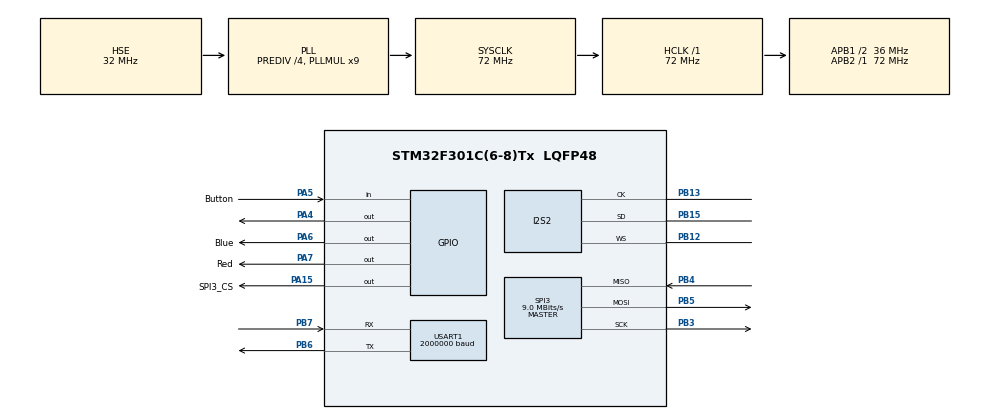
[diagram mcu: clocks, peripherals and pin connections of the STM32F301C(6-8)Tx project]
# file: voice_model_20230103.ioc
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Dma.Request0=SPI2_RX
Dma.SPI2_RX.0.Direction=DMA_PERIPH_TO_MEMORY
Dma.SPI2_RX.0.Instance=DMA1_Channel4
Dma.SPI2_RX.0.MemDataAlignment=DMA_MDATAALIGN_HALFWORD
Dma.SPI2_RX.0.MemInc=DMA_MINC_ENABLE
Dma.SPI2_RX.0.Mode=DMA_CIRCULAR
Dma.SPI2_RX.0.PeriphDataAlignment=DMA_PDATAALIGN_HALFWORD
Dma.SPI2_RX.0.PeriphInc=DMA_PINC_DISABLE
Dma.SPI2_RX.0.Priority=DMA_PRIORITY_HIGH
I2S2.AudioFreq=I2S_AUDIOFREQ_16K
I2S2.CPOL=I2S_CPOL_HIGH
I2S2.DataFormat=I2S_DATAFORMAT_24B
I2S2.ErrorAudioFreq=0.44 %
I2S2.FullDuplexMode=I2S_FULLDUPLEXMODE_DISABLE
I2S2.Instance=SPI$Index
I2S2.Mode=I2S_MODE_MASTER_RX
I2S2.RealAudioFreq=16.071 KHz
I2S2.VirtualMode=I2S_MODE_MASTER
Mcu.Family=STM32F3
Mcu.Name=STM32F301C(6-8)Tx
Mcu.Package=LQFP48
NVIC.DMA1_Channel4_IRQn=true\:0\:0\:true\:false\:true\:false\:true\:true
NVIC.PriorityGroup=NVIC_PRIORITYGROUP_4
NVIC.USART1_IRQn=true\:0\:0\:true\:false\:true\:true\:true\:true
PA13.Signal=SYS_JTMS-SWDIO
PA14.Signal=SYS_JTCK-SWCLK
PA15.GPIO_Label=SPI3_CS
PA15.GPIO_PuPd=GPIO_PULLUP
PA15.Signal=GPIO_Output
PA4.Signal=GPIO_Output
PA5.GPIO_Label=Button
PA5.GPIO_PuPd=GPIO_PULLUP
PA5.Signal=GPIO_Input
PA6.GPIO_Label=Blue
PA6.Signal=GPIO_Output
PA7.GPIO_Label=Red
PA7.Signal=GPIO_Output
PB12.GPIO_Speed=GPIO_SPEED_FREQ_HIGH
PB12.Mode=Half_Duplex_Master
PB12.Signal=I2S2_WS
PB13.GPIO_Speed=GPIO_SPEED_FREQ_HIGH
PB13.Mode=Half_Duplex_Master
PB13.Signal=I2S2_CK
PB15.GPIO_PuPd=GPIO_PULLDOWN
PB15.GPIO_Speed=GPIO_SPEED_FREQ_HIGH
PB15.Mode=Half_Duplex_Master
PB15.Signal=I2S2_SD
PB3.GPIO_PuPd=GPIO_PULLUP
PB3.Mode=Full_Duplex_Master
PB3.Signal=SPI3_SCK
PB4.GPIO_PuPd=GPIO_PULLDOWN
PB4.Mode=Full_Duplex_Master
PB4.Signal=SPI3_MISO
PB5.GPIO_PuPd=GPIO_PULLDOWN
PB5.Mode=Full_Duplex_Master
PB5.Signal=SPI3_MOSI
PB6.Mode=Asynchronous
PB6.Signal=USART1_TX
PB7.GPIO_PuPd=GPIO_NOPULL
PB7.Mode=Asynchronous
PB7.Signal=USART1_RX
PC14\ -\ OSC32_IN.Mode=LSE-External-Oscillator
PC14\ -\ OSC32_IN.Signal=RCC_OSC32_IN
PC15\ -\ OSC32_OUT.Mode=LSE-External-Oscillator
PC15\ -\ OSC32_OUT.Signal=RCC_OSC32_OUT
PF0-OSC_IN.Mode=HSE-External-Oscillator
PF0-OSC_IN.Signal=RCC_OSC_IN
PF1-OSC_OUT.Mode=HSE-External-Oscillator
PF1-OSC_OUT.Signal=RCC_OSC_OUT
ProjectManager.HeapSize=0x200
ProjectManager.StackSize=0x400
ProjectManager.TargetToolchain=STM32CubeIDE
RCC.AHBFreq_Value=72000000
RCC.APB1CLKDivider=RCC_HCLK_DIV2
RCC.APB1Freq_Value=36000000
RCC.APB1TimFreq_Value=72000000
RCC.APB2Freq_Value=72000000
RCC.APB2TimFreq_Value=72000000
RCC.CortexFreq_Value=72000000
RCC.HCLKFreq_Value=72000000
RCC.HSE_VALUE=32000000
RCC.HSI_VALUE=8000000
RCC.PLLMUL=RCC_PLL_MUL9
RCC.PLLSourceVirtual=RCC_PLLSOURCE_HSE
RCC.RCC_PLLsource_Clock_Source_FROM_HSE=RCC_HSE_PREDIV_DIV4
RCC.SYSCLKFreq_VALUE=72000000
RCC.SYSCLKSourceVirtual=RCC_SYSCLKSOURCE_PLLCLK
SPI3.BaudRatePrescaler=SPI_BAUDRATEPRESCALER_4
SPI3.CLKPhase=SPI_PHASE_2EDGE
SPI3.CLKPolarity=SPI_POLARITY_HIGH
SPI3.CalculateBaudRate=9.0 MBits/s
SPI3.DataSize=SPI_DATASIZE_8BIT
SPI3.Direction=SPI_DIRECTION_2LINES
SPI3.Mode=SPI_MODE_MASTER
SPI3.VirtualType=VM_MASTER
USART1.BaudRate=2000000
USART1.Mode=MODE_TX_RX
USART1.VirtualMode-Asynchronous=VM_ASYNC
board=custom

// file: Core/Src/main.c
/* USER CODE BEGIN Header */
/**
  ******************************************************************************
  * @file           : main.c
  * @brief          : Main program body
  ******************************************************************************
  * @attention
  *
  * Copyright (c) 2023 STMicroelectronics.
  * All rights reserved.
  *
  * This software is licensed under terms that can be found in the LICENSE file
  * in the root directory of this software component.
  * If no LICENSE file comes with this software, it is provided AS-IS.
  *
  ******************************************************************************
  */
/* USER CODE END Header */
#include "main.h"

/* USER CODE BEGIN Includes */
#include "stdio.h"
#include "stm32_SPI_IIM42652_drv_ex.h"
#include "stm32_SPI_IIM42652_drv_ex.h"
/* USER CODE END Includes */

I2S_HandleTypeDef hi2s2;
DMA_HandleTypeDef hdma_spi2_rx;

SPI_HandleTypeDef hspi3;

UART_HandleTypeDef huart1;

/* USER CODE BEGIN PV */
uint8_t rxuart;
uint16_t data_i2s[2];
volatile uint8_t full_i2s, half_i2s;
volatile uint8_t tim_flag;
volatile int32_t sample_i2s;
uint8_t ledflag = 0;
uint8_t uart_flag = 0;
uint8_t mic_data_reset = 0;
uint8_t send_flag = 0;

uint8_t str_buffer[8];

/* USER CODE END PV */

void SystemClock_Config(void);
static void MX_GPIO_Init(void);
static void MX_DMA_Init(void);
static void MX_I2S2_Init(void);
static void MX_SPI3_Init(void);
static void MX_USART1_UART_Init(void);
/* USER CODE BEGIN PFP */
static int32_t platform_write(uint8_t reg, uint8_t bufp);
static int32_t platform_read(uint8_t reg, uint8_t *bufp, uint16_t len);
/* USER CODE END PFP */

int main(void)
{

  /* MCU Configuration--------------------------------------------------------*/

  /* Reset of all peripherals, Initializes the Flash interface and the Systick. */
  HAL_Init();

  /* Configure the system clock */
  SystemClock_Config();

  /* Initialize all configured peripherals */
  MX_GPIO_Init();
  MX_DMA_Init();
  MX_I2S2_Init();
  MX_SPI3_Init();
  MX_USART1_UART_Init();
  /* USER CODE BEGIN 2 */

//  HAL_GPIO_WritePin(GPIOA, Blue_Pin, GPIO_PIN_SET);

  ////////////////////////////////////////////////////////////////////////////////////////////////////////////////////////////////////

  HAL_Delay(1000);
  HAL_GPIO_WritePin(GPIOA, SPI3_CS_Pin, GPIO_PIN_SET);
  HAL_GPIO_WritePin(GPIOA, SPI3_CS_Pin, GPIO_PIN_RESET);

  ////////////////////////////////////////////////////////////////////////////////////////////////////////////////////////////////////

  /* IIM42652 soft reset */
  platform_write(IIM_REG_DEVICE_CONFIG, 0x01); HAL_Delay(10); // Reset enable	//check OK_2022.12.25
  platform_write(IIM_REG_DEVICE_CONFIG, 0x00); HAL_Delay(10); // Reset disable	//check OK_2022.12.25

  /* IIM42652 Bank 0 */
  platform_write(IIM_REG_REG_BANK_SEL, 0x00); HAL_Delay(1); // Bank 0 setting	//check OK_2022.12.25
  platform_write(IIM_REG_INT_CONFIG, 0x03); HAL_Delay(1);						//check OK_2022.12.25
  platform_write(IIM_REG_FIFO_CONFIG, 0x00); HAL_Delay(1); // bypass mode		//check OK_2022.12.25
  // platform_write(IIM_REG_INT_STATUS, 0x80); HAL_Delay(1); // read INT status	//check OK_2022.12.25
  // platform_write(IIM_REG_FIFO_DATA, 0x00); HAL_Delay(1); // read FIFO data	//check OK_2022.12.25
  platform_write(IIM_REG_INTF_CONFIG0, 0x33); HAL_Delay(1);						//check OK_2022.12.25
  platform_write(IIM_REG_PWR_MGMT0, 0x33); HAL_Delay(1);						//check OK_2022.12.25
  platform_write(IIM_REG_ACCEL_CONFIG0, 0x42); HAL_Delay(1); 					//check OK_2022.12.25
  // IIM_REG_ACCEL_CONFIG0   0x43: 8 kHz --> real: 7.4 kHz,   0x42: 16 kHz --> real: 14.8 kHz
  platform_write(IIM_REG_GYRO_ACCEL_CONFIG0, 0x01); HAL_Delay(1);				//check OK_2022.12.25
  platform_write(IIM_REG_ACCEL_CONFIG1, 0x0D); HAL_Delay(1);					//check OK_2022.12.25
  platform_write(IIM_REG_FIFO_CONFIG1, 0x95); HAL_Delay(1);						//check OK_2022.12.25
  platform_write(IIM_REG_FIFO_CONFIG2, 0x00); HAL_Delay(1); //threshold			//check OK_2022.12.25
  platform_write(IIM_REG_FIFO_CONFIG3, 0x00); HAL_Delay(1); //threshold			//check OK_2022.12.25
  platform_write(IIM_REG_INT_CONFIG1, 0x70); HAL_Delay(1);						//check OK_2022.12.25
  platform_write(IIM_REG_INT_SOURCE0, 0x08); HAL_Delay(1);						//check OK_2022.12.25

  /* IIM42652 Bank 1 */
  platform_write(IIM_REG_REG_BANK_SEL, 0x01); HAL_Delay(1); // Bank 1 setting	//check OK_2022.12.25
  platform_write(IIM_REG_SENSOR_CONFIG0, 0x38); HAL_Delay(1);					//check OK_2022.12.25
  platform_write(IIM_REG_GYRO_CONFIG_STATIC2, 0x03); HAL_Delay(1);				//check OK_2022.12.25
  platform_write(IIM_REG_INTF_CONFIG5, 0x20); HAL_Delay(1);						//check OK_2022.12.25
  platform_write(IIM_REG_INTF_CONFIG6, 0x80); HAL_Delay(1);						//check OK_2022.12.25

  /* IIM42652 Bank 2 */
  platform_write(IIM_REG_REG_BANK_SEL, 0x02); HAL_Delay(1); // Bank 2 setting	//check OK_2022.12.25
  platform_write(IIM_REG_ACCEL_CONFIG_STATIC2, 0x7E); HAL_Delay(1);				//check OK_2022.12.25
  platform_write(IIM_REG_ACCEL_CONFIG_STATIC3, 0x80); HAL_Delay(1);				//check OK_2022.12.25
  platform_write(IIM_REG_ACCEL_CONFIG_STATIC4, 0x3F); HAL_Delay(1);				//check OK_2022.12.25

  /* IIM42652 Bank 3 */
  platform_write(IIM_REG_REG_BANK_SEL, 0x03); HAL_Delay(1); // Bank 3 setting	//check OK_2022.12.25
  platform_write(IIM_REG_PU_PD_CONFIG1, 0x01); HAL_Delay(1);					//check OK_2022.12.25
  platform_write(IIM_REG_PU_PD_CONFIG2, 0x00); HAL_Delay(1);					//check OK_2022.12.25

  /* IIM42652 Bank 4 */
  platform_write(IIM_REG_REG_BANK_SEL, 0x04); HAL_Delay(1); // Bank 4 setting	//check OK_2022.12.25

  ////////////////////////////////////////////////////////////////////////////////////////////////////////////////////////////////////

  /* FIFO setting - threshold value - INT1*/
//  platform_write(IIM_REG_REG_BANK_SEL, 0x00); HAL_Delay(1); // Bank 0 setting			//check OK_2022.12.25
//  platform_write(IIM_REG_FIFO_CONFIG, 0x40); HAL_Delay(1); // stream-to-FIFO mode		//check OK_2022.12.25
//  platform_write(IIM_REG_SIGNAL_PATH_RESET, 0x02); HAL_Delay(1); // reset FIFO			//check OK_2022.12.25
//  platform_write(IIM_REG_INTF_CONFIG0, 0x73); HAL_Delay(1);								//check OK_2022.12.25
//  platform_write(IIM_REG_FIFO_CONFIG1, 0x21); HAL_Delay(1);								//check OK_2022.12.25
//  platform_write(IIM_REG_FIFO_CONFIG2, 0x00); HAL_Delay(1);								//check OK_2022.12.25
//  platform_write(IIM_REG_FIFO_CONFIG3, 0x00); HAL_Delay(1);								//check OK_2022.12.25
//  platform_write(IIM_REG_FIFO_CONFIG2, 0x64); HAL_Delay(1);								//check OK_2022.12.25
//  platform_write(IIM_REG_FIFO_CONFIG3, 0x00); HAL_Delay(1);								//check OK_2022.12.25
//  platform_write(IIM_REG_INT_SOURCE0, 0x04); HAL_Delay(1);								//check OK_2022.12.25

  /* related FIFO status and read data */
  /*
	  IIM_REG_INT_STATUS, 0x40	// read INT status
	  The bit clears to 0 after the register has been read.

	  IIM_REG_FIFO_COUNTH, IIM_REG_FIFO_COUNTL	// read FIFO count (number of records)
	  Reading this byte latches the data for both FIFO_COUNTH, and FIFO_COUNTL.

	  IIM_REG_FIFO_DATA		// read FIFO data
  	  1packet (8 bytes): header( 1byte) + accelerometer (6bytes) + temperature (1byte)
   */

  ////////////////////////////////////////////////////////////////////////////////////////////////////////////////////////////////////
  platform_write(IIM_REG_REG_BANK_SEL, 0x00); HAL_Delay(1); // Bank 0 reading
  HAL_GPIO_WritePin(GPIOA, SPI3_CS_Pin, GPIO_PIN_RESET);

  int16_t tempVal_x = 0;
  int16_t tempVal_y = 0;
  int16_t tempVal_z = 0;

  int16_t tempVal_mic = 0;
//  int32_t temp_mic = 0;

//  uint8_t str_buffer[8];
  uint8_t str_rx_buffer;
  //int16_t buf16[2];

  uint16_t count = 0;

  ////////////////////////////////////////////////////////////////////////////////////////////////////////////////////////////////////

//  HAL_I2S_Receive_DMA(&hi2s2, (uint16_t *)data_i2s, sizeof(data_i2s)/2);
  uint16_t data;
  HAL_I2S_Receive_DMA(&hi2s2, (uint16_t *)data_i2s, sizeof(data_i2s)/2);

//  HAL_I2S_Receive(&hi2s2, (uint16_t *)data_i2s, sizeof(data_i2s), 100);

  HAL_GPIO_WritePin(GPIOA, Blue_Pin, GPIO_PIN_RESET);
  HAL_GPIO_WritePin(GPIOA, Red_Pin, GPIO_PIN_SET);

  HAL_UART_Receive_IT(&huart1, &rxuart, 1);

  /* USER CODE END 2 */

  /* Infinite loop */
  while (1)
  {

    /* USER CODE BEGIN 3 */
	  if (uart_flag == 1)
	  {
		  if(send_flag == 1)
		  {
			  HAL_UART_Transmit(&huart1,str_buffer,sizeof(str_buffer), 100);
			  send_flag = 0;
		  }
//					  HAL_UART_Receive_IT(&huart1, &rxuart, 1);
//		  HAL_UART_Transmit(&huart1,str_buffer,sizeof(str_buffer), 100);
	  }

    // Individual board
//	str_buffer[8] = 0xA5;
//	    HAL_UART_Receive_IT(&huart1, &rxuart, 1);

//	  HAL_UART_Receive_IT(&huart1, &rxuart, 1);
//		if(tim_flag == 1)
//		{
//
//			// reading acoustic microphone and accelerometer z
//			// accelerometer - 8 kHz, acoustic microphone - 16 kHz
//			// Storing by UART communication method
//
//			  tim_flag = 0;
//
//			  sample_i2s = (int32_t) ((data_i2s[0] << 16) | data_i2s[1]);
//			  temp_mic = (sample_i2s >> 8);
//
//			  if(mic_data_reset == 0)
//			  {
////				  str_buffer[0] = (uint8_t)(temp_mic >> 16);
////				  str_buffer[1] = (uint8_t)(temp_mic >> 8);
////				  str_buffer[2] = (uint8_t)(temp_mic);
//				  str_buffer[0] = (uint8_t)(0x11);
//				  str_buffer[1] = (uint8_t)(0x11);
//				  str_buffer[2] = (uint8_t)(0x11);
//
//				  platform_read(IIM_REG_ACCEL_DATA_Z1_UI, rxBuf, 2);
////				  str_buffer[6] = (uint8_t)(rxBuf[0]);
////				  str_buffer[7] = (uint8_t)(rxBuf[1]);
//				  str_buffer[6] = (uint8_t)(0x00);
//				  str_buffer[7] = (uint8_t)(0x00);
//
//				  mic_data_reset = 1;
//			  }
//			  else if(mic_data_reset == 1)
//			  {
////				  str_buffer[3] = (uint8_t)(temp_mic >> 16);
////				  str_buffer[4] = (uint8_t)(temp_mic >> 8);
////				  str_buffer[5] = (uint8_t)(temp_mic);
//				  str_buffer[3] = (uint8_t)(0x22);
//				  str_buffer[4] = (uint8_t)(0x22);
//				  str_buffer[5] = (uint8_t)(0x22);
//
//				  mic_data_reset = 0;
//
//				  if (uart_flag == 1)
//				  {
////					  HAL_UART_Receive_IT(&huart1, &rxuart, 1);
//					  HAL_UART_Transmit(&huart1,str_buffer,sizeof(str_buffer), 100);
//				  }
//
//			  }
//
//
//		}

  //	if(tim_flag == 1)
//	{
////		  HAL_GPIO_WritePin(GPIOA, Blue_Pin, GPIO_PIN_SET);
//
//		// reading acoustic microphone and accelerometer z
//		// accelerometer - 8 kHz, acoustic microphone - 16 kHz
//		// Storing by UART communication method
//
//		  tim_flag = 0;
//
//		  sample_i2s = (int32_t) ((data_i2s[0] << 16) | data_i2s[1]);
//		  temp_mic = (sample_i2s >> 8);
//
//		  if(mic_data_reset == 0)
//		  {
//			  str_buffer[0] = (uint8_t)(temp_mic >> 16);
//			  str_buffer[1] = (uint8_t)(temp_mic >> 8);
//			  str_buffer[2] = (uint8_t)(temp_mic);
//
//			  platform_read(IIM_REG_ACCEL_DATA_Z1_UI, rxBuf, 2);
//			  str_buffer[6] = (uint8_t)(rxBuf[0]);
//			  str_buffer[7] = (uint8_t)(rxBuf[1]);
//
//			  mic_data_reset = 1;
//		  }
//		  else if(mic_data_reset == 1)
//		  {
//			  str_buffer[3] = (uint8_t)(temp_mic >> 16);
//			  str_buffer[4] = (uint8_t)(temp_mic >> 8);
//			  str_buffer[5] = (uint8_t)(temp_mic);
//
//			  mic_data_reset = 0;
//
//			  GPIO_PinState pin_state = HAL_GPIO_ReadPin(Button_GPIO_Port, Button_Pin);
//			  if(pin_state == GPIO_PIN_RESET)
////			  if(str_rx_buffer=='0x01')
//			  {
////				  HAL_GPIO_WritePin(GPIOA, Blue_Pin, GPIO_PIN_RESET);
//				  HAL_UART_Transmit(&huart1,str_buffer,sizeof(str_buffer), 100);
////				  HAL_GPIO_WritePin(GPIOA, Blue_Pin, GPIO_PIN_SET);
//
////				  pin_state = GPIO_PIN_SET;
////				  count++;
////				  if(count == 4000)
////				  {
////					  HAL_GPIO_TogglePin(GPIOA, Red_Pin);
////					  count = 0;
////				  }
//			  }
//
//		  }

		// reading accelerometer x, y, z

//		  tim_flag = 0;
//
//		  sample_i2s = (int32_t) ((data_i2s[0] << 16) | data_i2s[1]);
//
//		  platform_read(IIM_REG_ACCEL_DATA_X1_UI, rxBuf, 6);
//
//		  str_buffer[0] = rxBuf[0];
//		  str_buffer[1] = rxBuf[1];
//		  str_buffer[2] = rxBuf[2];
//		  str_buffer[3] = rxBuf[3];
//		  str_buffer[4] = rxBuf[4];
//		  str_buffer[5] = rxBuf[5];
//
//
//		  GPIO_PinState pin_state = HAL_GPIO_ReadPin(Button_GPIO_Port, Button_Pin);
//		  if(pin_state == GPIO_PIN_RESET)
//		  {
//			  HAL_UART_Transmit(&huart1,str_buffer,sizeof(str_buffer), 100);
//			  pin_state = GPIO_PIN_SET;
//
//			  count++;
//			  if(count == 4000)
//			  {
//				  HAL_GPIO_TogglePin(GPIOA, Red_Pin);
//				  count = 0;
//			  }
//		  }
//	}
//	HAL_GPIO_WritePin(GPIOA, Blue_Pin, GPIO_PIN_RESET);

  }
  /* USER CODE END 3 */
}

void SystemClock_Config(void)
{
  RCC_OscInitTypeDef RCC_OscInitStruct = {0};
  RCC_ClkInitTypeDef RCC_ClkInitStruct = {0};
  RCC_PeriphCLKInitTypeDef PeriphClkInit = {0};

  /** Initializes the RCC Oscillators according to the specified parameters
  * in the RCC_OscInitTypeDef structure.
  */
  RCC_OscInitStruct.OscillatorType = RCC_OSCILLATORTYPE_HSE;
  RCC_OscInitStruct.HSEState = RCC_HSE_ON;
  RCC_OscInitStruct.HSEPredivValue = RCC_HSE_PREDIV_DIV4;
  RCC_OscInitStruct.HSIState = RCC_HSI_ON;
  RCC_OscInitStruct.PLL.PLLState = RCC_PLL_ON;
  RCC_OscInitStruct.PLL.PLLSource = RCC_PLLSOURCE_HSE;
  RCC_OscInitStruct.PLL.PLLMUL = RCC_PLL_MUL9;
  if (HAL_RCC_OscConfig(&RCC_OscInitStruct) != HAL_OK)
  {
    Error_Handler();
  }

  /** Initializes the CPU, AHB and APB buses clocks
  */
  RCC_ClkInitStruct.ClockType = RCC_CLOCKTYPE_HCLK|RCC_CLOCKTYPE_SYSCLK
                              |RCC_CLOCKTYPE_PCLK1|RCC_CLOCKTYPE_PCLK2;
  RCC_ClkInitStruct.SYSCLKSource = RCC_SYSCLKSOURCE_PLLCLK;
  RCC_ClkInitStruct.AHBCLKDivider = RCC_SYSCLK_DIV1;
  RCC_ClkInitStruct.APB1CLKDivider = RCC_HCLK_DIV2;
  RCC_ClkInitStruct.APB2CLKDivider = RCC_HCLK_DIV1;

  if (HAL_RCC_ClockConfig(&RCC_ClkInitStruct, FLASH_LATENCY_2) != HAL_OK)
  {
    Error_Handler();
  }
  PeriphClkInit.PeriphClockSelection = RCC_PERIPHCLK_USART1;
  PeriphClkInit.Usart1ClockSelection = RCC_USART1CLKSOURCE_PCLK1;
  if (HAL_RCCEx_PeriphCLKConfig(&PeriphClkInit) != HAL_OK)
  {
    Error_Handler();
  }
}

static void MX_I2S2_Init(void)
{

  hi2s2.Instance = SPI2;
  hi2s2.Init.Mode = I2S_MODE_MASTER_RX;
  hi2s2.Init.Standard = I2S_STANDARD_PHILIPS;
  hi2s2.Init.DataFormat = I2S_DATAFORMAT_24B;
  hi2s2.Init.MCLKOutput = I2S_MCLKOUTPUT_DISABLE;
  hi2s2.Init.AudioFreq = I2S_AUDIOFREQ_16K;
  hi2s2.Init.CPOL = I2S_CPOL_HIGH;
  hi2s2.Init.ClockSource = I2S_CLOCK_SYSCLK;
  hi2s2.Init.FullDuplexMode = I2S_FULLDUPLEXMODE_DISABLE;
  if (HAL_I2S_Init(&hi2s2) != HAL_OK)
  {
    Error_Handler();
  }

}

static void MX_SPI3_Init(void)
{

  /* SPI3 parameter configuration*/
  hspi3.Instance = SPI3;
  hspi3.Init.Mode = SPI_MODE_MASTER;
  hspi3.Init.Direction = SPI_DIRECTION_2LINES;
  hspi3.Init.DataSize = SPI_DATASIZE_8BIT;
  hspi3.Init.CLKPolarity = SPI_POLARITY_HIGH;
  hspi3.Init.CLKPhase = SPI_PHASE_2EDGE;
  hspi3.Init.NSS = SPI_NSS_SOFT;
  hspi3.Init.BaudRatePrescaler = SPI_BAUDRATEPRESCALER_4;
  hspi3.Init.FirstBit = SPI_FIRSTBIT_MSB;
  hspi3.Init.TIMode = SPI_TIMODE_DISABLE;
  hspi3.Init.CRCCalculation = SPI_CRCCALCULATION_DISABLE;
  hspi3.Init.CRCPolynomial = 7;
  hspi3.Init.CRCLength = SPI_CRC_LENGTH_DATASIZE;
  hspi3.Init.NSSPMode = SPI_NSS_PULSE_DISABLE;
  if (HAL_SPI_Init(&hspi3) != HAL_OK)
  {
    Error_Handler();
  }

}

static void MX_USART1_UART_Init(void)
{

  huart1.Instance = USART1;
  huart1.Init.BaudRate = 2000000;
  huart1.Init.WordLength = UART_WORDLENGTH_8B;
  huart1.Init.StopBits = UART_STOPBITS_1;
  huart1.Init.Parity = UART_PARITY_NONE;
  huart1.Init.Mode = UART_MODE_TX_RX;
  huart1.Init.HwFlowCtl = UART_HWCONTROL_NONE;
  huart1.Init.OverSampling = UART_OVERSAMPLING_16;
  huart1.Init.OneBitSampling = UART_ONE_BIT_SAMPLE_DISABLE;
  huart1.AdvancedInit.AdvFeatureInit = UART_ADVFEATURE_NO_INIT;
  if (HAL_UART_Init(&huart1) != HAL_OK)
  {
    Error_Handler();
  }

}

static void MX_DMA_Init(void)
{

  /* DMA controller clock enable */
  __HAL_RCC_DMA1_CLK_ENABLE();

  /* DMA interrupt init */
  /* DMA1_Channel4_IRQn interrupt configuration */
  HAL_NVIC_SetPriority(DMA1_Channel4_IRQn, 0, 0);
  HAL_NVIC_EnableIRQ(DMA1_Channel4_IRQn);

}

static void MX_GPIO_Init(void)
{
  GPIO_InitTypeDef GPIO_InitStruct = {0};

  /* GPIO Ports Clock Enable */
  __HAL_RCC_GPIOC_CLK_ENABLE();
  __HAL_RCC_GPIOF_CLK_ENABLE();
  __HAL_RCC_GPIOA_CLK_ENABLE();
  __HAL_RCC_GPIOB_CLK_ENABLE();

  /*Configure GPIO pin Output Level */
  HAL_GPIO_WritePin(GPIOA, GPIO_PIN_4|Blue_Pin|Red_Pin|SPI3_CS_Pin, GPIO_PIN_RESET);

  /*Configure GPIO pins : PA4 Blue_Pin Red_Pin */
  GPIO_InitStruct.Pin = GPIO_PIN_4|Blue_Pin|Red_Pin;
  GPIO_InitStruct.Mode = GPIO_MODE_OUTPUT_PP;
  GPIO_InitStruct.Pull = GPIO_NOPULL;
  GPIO_InitStruct.Speed = GPIO_SPEED_FREQ_LOW;
  HAL_GPIO_Init(GPIOA, &GPIO_InitStruct);

  /*Configure GPIO pin : Button_Pin */
  GPIO_InitStruct.Pin = Button_Pin;
  GPIO_InitStruct.Mode = GPIO_MODE_INPUT;
  GPIO_InitStruct.Pull = GPIO_PULLUP;
  HAL_GPIO_Init(Button_GPIO_Port, &GPIO_InitStruct);

  /*Configure GPIO pin : SPI3_CS_Pin */
  GPIO_InitStruct.Pin = SPI3_CS_Pin;
  GPIO_InitStruct.Mode = GPIO_MODE_OUTPUT_PP;
  GPIO_InitStruct.Pull = GPIO_PULLUP;
  GPIO_InitStruct.Speed = GPIO_SPEED_FREQ_LOW;
  HAL_GPIO_Init(SPI3_CS_GPIO_Port, &GPIO_InitStruct);

}

/* USER CODE BEGIN 4 */

//void HAL_TIM_PeriodElapsedCallback(TIM_HandleTypeDef *htim)
//{
//	if(htim->Instance == TIM2)
//	{
//		if(ledflag ==1)
//		{
//			HAL_GPIO_TogglePin(GPIOA, Red_Pin);
//		}
//	}
//
//}

//void HAL_I2S_RxHalfCpltCallback(I2S_HandleTypeDef *hi2s)
//{
//	HAL_GPIO_WritePin(GPIOA, GPIO_PIN_4, GPIO_PIN_SET);
//	HAL_GPIO_WritePin(GPIOA, GPIO_PIN_4, GPIO_PIN_RESET);
//	tim_flag = 1;
//}
//void HAL_I2S_RxCpltCallback(I2S_HandleTypeDef *hi2s)
//{
//	HAL_GPIO_WritePin(GPIOA, GPIO_PIN_4, GPIO_PIN_SET);
//	HAL_GPIO_WritePin(GPIOA, GPIO_PIN_4, GPIO_PIN_RESET);
//	tim_flag = 1;
//
//}
void HAL_I2S_RxHalfCpltCallback(I2S_HandleTypeDef *hi2s)
{
//	  HAL_GPIO_WritePin(GPIOA, GPIO_PIN_4, GPIO_PIN_SET);
//	  HAL_GPIO_WritePin(GPIOA, GPIO_PIN_4, GPIO_PIN_RESET);
//	  tim_flag = 1;
	// reading acoustic microphone and accelerometer z
	// accelerometer - 8 kHz, acoustic microphone - 16 kHz
	// Storing by UART communication method

//	  tim_flag = 0;

	  int32_t temp_mic = 0;
//	  uint8_t str_buffer[8];
	  uint8_t rxBuf[2];

//	  str_buffer[8] = 0xa5;

	  sample_i2s = (int32_t) ((data_i2s[0] << 16) | data_i2s[1]);
	  temp_mic = (sample_i2s >> 8);

	  if(mic_data_reset == 0)
	  {
		  str_buffer[0] = (uint8_t)(temp_mic >> 16);
		  str_buffer[1] = (uint8_t)(temp_mic >> 8);
		  str_buffer[2] = (uint8_t)(temp_mic);
//		  str_buffer[0] = (uint8_t)(0x11);
//		  str_buffer[1] = (uint8_t)(0x11);
//		  str_buffer[2] = (uint8_t)(0x11);

		  platform_read(IIM_REG_ACCEL_DATA_Z1_UI, rxBuf, 2);
		  str_buffer[6] = (uint8_t)(rxBuf[0]);
		  str_buffer[7] = (uint8_t)(rxBuf[1]);
//		  str_buffer[6] = (uint8_t)(0x00);
//		  str_buffer[7] = (uint8_t)(0x00);

		  mic_data_reset = 1;
	  }
	  else if(mic_data_reset == 1)
	  {
		  str_buffer[3] = (uint8_t)(temp_mic >> 16);
		  str_buffer[4] = (uint8_t)(temp_mic >> 8);
		  str_buffer[5] = (uint8_t)(temp_mic);
//		  str_buffer[3] = (uint8_t)(0x22);
//		  str_buffer[4] = (uint8_t)(0x22);
//		  str_buffer[5] = (uint8_t)(0x22);

		  mic_data_reset = 0;

		  send_flag = 1;
	  }
}

/*
 * @brief  Write generic device register (platform dependent)
 *
 * @param  handle    customizable argument. In this examples is used in
 *                   order to select the correct sensor bus handler.
 * @param  reg       register to write
 * @param  bufp      pointer to data to write in register reg
 * @param  len       number of consecutive register to write
 *
 */
static int32_t platform_write(uint8_t reg, uint8_t bufp)
{
  HAL_GPIO_WritePin(GPIOA, SPI3_CS_Pin, GPIO_PIN_RESET);
  uint8_t addr_data_bit[2] = {reg, bufp};
  HAL_SPI_Transmit(&hspi3, addr_data_bit, 2, 1000); // transfer address
  HAL_GPIO_WritePin(GPIOA, SPI3_CS_Pin, GPIO_PIN_SET);

  return 0;
}

/*
 * @brief  Read generic device register (platform dependent)
 *
 * @param  handle    customizable argument. In this examples is used in
 *                   order to select the correct sensor bus handler.
 * @param  reg       register to read
 * @param  bufp      pointer to buffer that store the data read
 * @param  len       number of consecutive register to read
 *
 */
static int32_t platform_read(uint8_t reg, uint8_t *bufp, uint16_t len)
{
  reg |= 0x80;
  HAL_GPIO_WritePin(GPIOA, SPI3_CS_Pin, GPIO_PIN_RESET);
  HAL_SPI_Transmit(&hspi3, &reg, 1, 1000); // transfer address
  HAL_SPI_Receive(&hspi3, bufp, len, 1000); // read data
  HAL_GPIO_WritePin(GPIOA, SPI3_CS_Pin, GPIO_PIN_SET);

  return 0;
}

void HAL_UART_RxCpltCallback(UART_HandleTypeDef *huart)
{

	HAL_UART_Receive_IT(&huart1, &rxuart, 1);
//	HAL_UART_Transmit(&huart1, &rxuart, sizeof(rxuart), 100);
	if(rxuart == 's')
	{
		if(uart_flag == 0)
		{
			uart_flag = 1;
			HAL_GPIO_WritePin(GPIOA, Blue_Pin, GPIO_PIN_SET);
		}

		else
		{
			uart_flag = 0;
			HAL_GPIO_WritePin(GPIOA, Blue_Pin, GPIO_PIN_RESET);
		}
	}

}
/* USER CODE END 4 */

void Error_Handler(void)
{
  __disable_irq();
  while (1)
  {
  }
}
